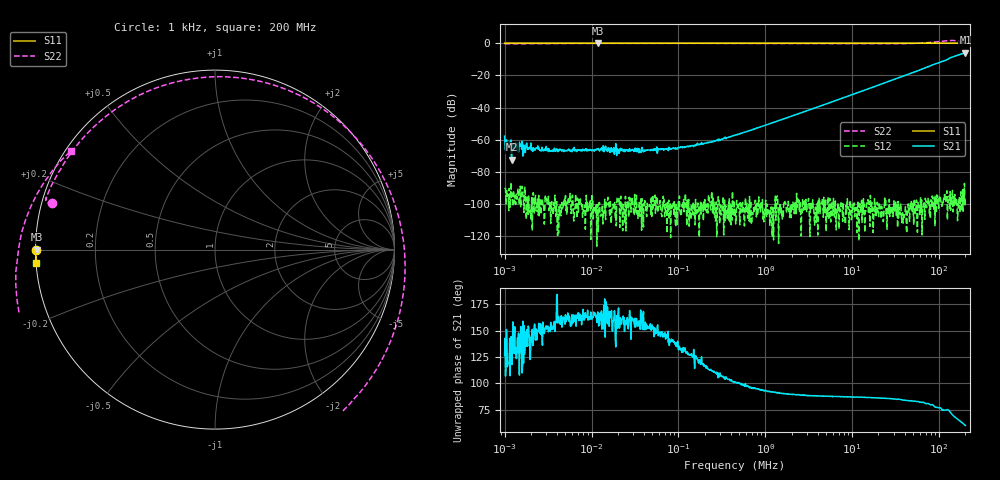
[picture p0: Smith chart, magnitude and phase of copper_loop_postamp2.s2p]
! ListType=Log
# MHZ S RI R 50
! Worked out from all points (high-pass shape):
!   1000 points, 1 kHz to 200 MHz, reference 50 ohm
!   highest |S21| = -5.89 dB at 200 MHz (marker M1); lowest = -72.2 dB at 1.201 kHz (marker M2)
!   |S21| within 3 dB of the highest: 137.2 MHz to end of sweep
!   lowest |S11| = -0.1 dB at 11.95 kHz (marker M3), VSWR 293.86, Z = 0.17 + j0.0087 ohm
!   |S11| at or under -10 dB: nowhere
!   |S22| runs from -0.5 to 1.7 dB; largest |S21 - S12| = 0.51
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0.001  -0.997 -0.00043  -0.000773 0.00104  -1.15e-05 -2.99e-05  -0.9089 0.26
0.0012011  -0.9969 -0.000341  -0.000189 0.000155  -1.51e-05 3e-07  -0.9129 0.2583
0.0033934  -0.9969 -0.000387  -0.000415 0.000168  1.4e-06 2.1e-06  -0.9363 0.2643
0.0076941  -0.9972 -7.37e-05  -0.000414 0.000187  -2.1e-06 8.4e-06  -0.9422 0.2759
0.011945  -0.9932 0.000346  -0.000517 0.000151  -1.2e-06 6e-07  -0.9435 0.2782
0.0584804  -0.9972 -1.07e-05  -0.00042 0.000292  1.1e-06 -7.5e-06  -0.9406 0.2882
0.1516716  -0.9973 2.56e-05  -0.000374 0.000556  -3.1e-06 3.7e-06  -0.9394 0.2913
0.4499541  -0.9971 -0.000208  -0.000261 0.00137  1.8e-06 7.1e-06  -0.9349 0.303
3.419952  -0.9973 -0.00133  0.000278 0.00899  -1.8e-06 -7.2e-06  -0.8867 0.4028
12.03851  -0.9977 -0.00462  0.0017 0.0302  -7.5e-06 -3e-07  -0.7122 0.6466
26.31347  -0.9981 -0.00962  0.00516 0.0649  3.6e-06 -3.5e-06  -0.3118 0.9064
38.43037  -0.9984 -0.0138  0.00996 0.0942  1.2e-06 -2.3e-06  0.0882 0.9611
50.9003  -0.9984 -0.0178  0.0154 0.1234  -1e-07 -2.3e-06  0.4925 0.8486
64.99008  -0.9981 -0.0226  0.0225 0.158  6e-06 -3.9e-06  0.8567 0.5339
81.97236  -0.9981 -0.0286  0.0367 0.2  5.3e-06 -7.1e-06  1.057 -0.0223
103.3922  -0.9979 -0.0362  0.06 0.2522  -9.6e-06 -1.12e-05  0.8402 -0.7545
116.8291  -0.998 -0.0396  0.078 0.2781  1.25e-05 -4.9e-06  0.4616 -1.075
128.8255  -0.9953 -0.0463  0.0904 0.3188  -1.25e-05 -1.01e-05  0.0311 -1.195
145.5678  -0.9991 -0.0537  0.1359 0.356  5.8e-06 -1.22e-05  -0.5687 -1.06
164.4859  -0.9988 -0.0596  0.1762 0.3862  4.6e-06 -3.3e-06  -1.028 -0.5582
179.1732  -0.999 -0.0652  0.2078 0.413  -1.87e-05 -8.8e-06  -1.102 -0.0581
200  -0.9988 -0.0752  0.2549 0.4388  -1.29e-05 -6.6e-06  -0.8026 0.5506
